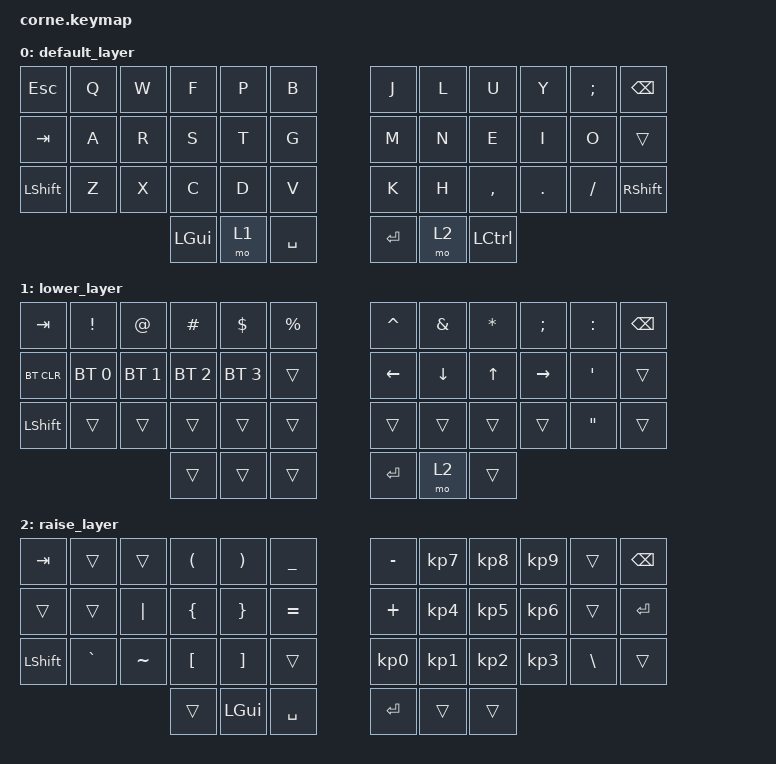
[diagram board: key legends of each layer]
/*
 * Copyright (c) 2020 The ZMK Contributors
 *
 * SPDX-License-Identifier: MIT
 */

#include <behaviors.dtsi>
#include <dt-bindings/zmk/keys.h>
#include <dt-bindings/zmk/bt.h>

/ {
        keymap {
                compatible = "zmk,keymap";

                default_layer {
// -----------------------------------------------------------------------------------------
// | ESC  |  Q  |  W  |  F  |  P  |  B  |   |  J  |  L   |  U  |  Y  |  ;  | BKSP |
// | TAB |  A  |  R  |  S  |  T  |  G  |   |  M  |  N   |  E  |  I  | O  |  '  |
// | SHIFT |  Z  |  X  |  C  |  D |  V  |   |  K  |  H   |  ,  |  .  |  /  | SHIFT  |
//                    | CMD | LWR | SPC |   | ENTER | UP  | CTRL |
                        bindings = <
   &kp ESC   &kp Q &kp W &kp F &kp P &kp B   &kp J &kp L  &kp U   &kp Y   &kp SEMI    &kp BSPC
   &kp TAB &kp A &kp R &kp S &kp T &kp G   &kp M &kp N  &kp E  &kp I  &kp O &trans
   &kp LSHIFT &kp Z &kp X &kp C &kp D &kp V   &kp K &kp H  &kp COMMA &kp DOT &kp FSLH &kp RSHIFT
                &kp LGUI &mo 1 &kp SPACE   &kp ENTER &mo 2 &kp LCTRL
                        >;
                };
                lower_layer {
// -----------------------------------------------------------------------------------------
// |  TAB |  !  |  @  |  #  |  $  |  %  |   |  ^  |  &  |  *  |  ;  |  :  | BKSP |
// | BTCLR| BT1 | BT2 | BT3 | BT4 |     |   |LEFT |DOWN |  UP |RIGHT|  '  |      |
// | SHFT |     |     |     |     |     |   |     |     |     |     |  "  |      |
//                    |     | CMD | SPC |   | ENTER |RAISE|     |
                        bindings = <
   &kp TAB    &kp EXCL       &kp AT       &kp HASH       &kp DLLR       &kp PRCNT         &kp CARET   &kp AMPS   &kp ASTRK &kp SEMI    &kp COLON &kp BSPC
   &bt BT_CLR &bt BT_SEL 0 &bt BT_SEL 1 &bt BT_SEL 2 &bt BT_SEL 3   &trans  &kp LEFT &kp DOWN &kp UP &kp RIGHT &kp SQT &trans
   &kp LSHIFT  &trans       &trans       &trans       &trans       &trans         &trans   &trans   &trans &trans    &kp DQT &trans
                                    &trans  &trans  &trans  &kp ENTER &mo 2  &trans
                        >;
                };

                raise_layer {
// -----------------------------------------------------------------------------------------
// |  TAB |     |     |  (  |  )  |  _  |   |  -  |  7  |  8  |  9  |    | BKSP |
// |      |     |  |  | {   |  }  |  =  |   |  +  |  4  |  5  |  6  |    | ENT  |
// | SHFT | `   |  ~  |  [  |  ]  |     |   |  0  |  1  |  2  |  3  | \  |      |
//                    |     | CMD | SPC |   | ENTER |     |     |
                        bindings = <
   &kp  TAB  &trans &trans &kp LPAR &kp RPAR &kp UNDER   &kp MINUS &kp KP_NUMBER_7  &kp KP_NUMBER_8 &kp KP_NUMBER_9 &trans &kp BSPC
   &trans &trans   &kp PIPE &kp LBRC   &kp RBRC   &kp EQUAL      &kp PLUS &kp KP_NUMBER_4 &kp KP_NUMBER_5  &kp KP_NUMBER_6 &trans &kp ENTER
   &kp LSHIFT &kp GRAVE  &kp TILDE &kp LBKT   &kp RBKT   &trans      &kp KP_NUMBER_0 &kp KP_NUMBER_1  &kp KP_NUMBER_2  &kp KP_NUMBER_3 &kp BSLH &trans
                             &trans &kp LGUI   &kp SPACE   &kp ENTER   &trans    &trans
                        >;
                };
        };
};
